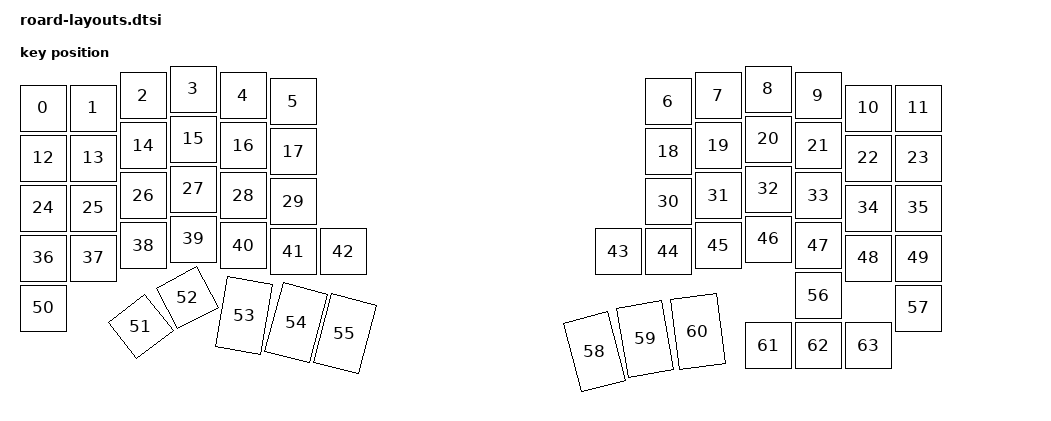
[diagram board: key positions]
#include <physical_layouts.dtsi>

/ {
    default_layout: default_layout {
        compatible = "zmk,physical-layout";
        display-name = "Default Layout";
        kscan = <&kscan>;
        transform = <&default_transform>;

        keys = <
            /* Row 0 (12 keys) */
            &key_physical_attrs 100 100 50   38   0     0    0      /* ESC */
            &key_physical_attrs 100 100 150  38   0     0    0      /* 1 */
            &key_physical_attrs 100 100 250  13   0     0    0      /* 2 */
            &key_physical_attrs 100 100 350  0    0     0    0      /* 3 */
            &key_physical_attrs 100 100 450  13   0     0    0      /* 4 */
            &key_physical_attrs 100 100 550  25   0     0    0      /* 5 */
            &key_physical_attrs 100 100 1300 25   0     0    0      /* 6 */
            &key_physical_attrs 100 100 1400 13   0     0    0      /* 7 */
            &key_physical_attrs 100 100 1500 0    0     0    0      /* 8 */
            &key_physical_attrs 100 100 1600 13   0     0    0      /* 9 */
            &key_physical_attrs 100 100 1700 38   0     0    0      /* 0 */
            &key_physical_attrs 100 100 1800 38   0     0    0      /* = */

            /* Row 1 (12 keys) */
            &key_physical_attrs 100 100 50   138  0     0    0      /* ` */
            &key_physical_attrs 100 100 150  138  0     0    0      /* Q */
            &key_physical_attrs 100 100 250  113  0     0    0      /* W */
            &key_physical_attrs 100 100 350  100  0     0    0      /* E */
            &key_physical_attrs 100 100 450  113  0     0    0      /* R */
            &key_physical_attrs 100 100 550  125  0     0    0      /* T */
            &key_physical_attrs 100 100 1300 125  0     0    0      /* Y */
            &key_physical_attrs 100 100 1400 113  0     0    0      /* U */
            &key_physical_attrs 100 100 1500 100  0     0    0      /* I */
            &key_physical_attrs 100 100 1600 113  0     0    0      /* O */
            &key_physical_attrs 100 100 1700 138  0     0    0      /* P */
            &key_physical_attrs 100 100 1800 138  0     0    0      /* \ */

            /* Row 2 (12 keys) */
            &key_physical_attrs 100 100 50   238  0     0    0      /* TAB */
            &key_physical_attrs 100 100 150  238  0     0    0      /* A */
            &key_physical_attrs 100 100 250  213  0     0    0      /* S */
            &key_physical_attrs 100 100 350  200  0     0    0      /* D */
            &key_physical_attrs 100 100 450  213  0     0    0      /* F */
            &key_physical_attrs 100 100 550  225  0     0    0      /* G */
            &key_physical_attrs 100 100 1300 225  0     0    0      /* H */
            &key_physical_attrs 100 100 1400 213  0     0    0      /* J */
            &key_physical_attrs 100 100 1500 200  0     0    0      /* K */
            &key_physical_attrs 100 100 1600 213  0     0    0      /* L */
            &key_physical_attrs 100 100 1700 238  0     0    0      /* ; */
            &key_physical_attrs 100 100 1800 238  0     0    0      /* ' */

            /* Row 3 (14 keys) */
            &key_physical_attrs 100 100 50   338  0     0    0      /* LSHFT */
            &key_physical_attrs 100 100 150  338  0     0    0      /* Z */
            &key_physical_attrs 100 100 250  313  0     0    0      /* X */
            &key_physical_attrs 100 100 350  300  0     0    0      /* C */
            &key_physical_attrs 100 100 450  313  0     0    0      /* V */
            &key_physical_attrs 100 100 550  325  0     0    0      /* B */
            &key_physical_attrs 100 100 650  325  0     0    0      /* FN */
            &key_physical_attrs 100 100 1200 325  0     0    0      /* - */
            &key_physical_attrs 100 100 1300 325  0     0    0      /* N */
            &key_physical_attrs 100 100 1400 313  0     0    0      /* M */
            &key_physical_attrs 100 100 1500 300  0     0    0      /* , */
            &key_physical_attrs 100 100 1600 313  0     0    0      /* . */
            &key_physical_attrs 100 100 1700 338  0     0    0      /* / */
            &key_physical_attrs 100 100 1800 338  0     0    0      /* RSHFT */

            /* Row 4 (8 keys - Left mods, Left thumb cluster, Right upper arrows) */
            &key_physical_attrs 100 100 50   438  0       0    0      /* LCTRL */
            &key_physical_attrs 100 100 218  256  (-3800) 600  375    /* LALT */
            &key_physical_attrs 100 100 320  307  (-2800) 600  375    /* LGUI */
            &key_physical_attrs 100 150 476  443  1000    600  375    /* RET */
            &key_physical_attrs 100 150 593  436  1500    600  375    /* BSPC (Left) */
            &key_physical_attrs 100 150 693  432  1500    600  375    /* LBKT */
            &key_physical_attrs 100 100 1600 413  0       0    0      /* UP */
            &key_physical_attrs 100 100 1800 438  0       0    0      /* DEL */

            /* Row 5 (6 keys - Right thumb cluster, Right lower arrows) */
            &key_physical_attrs 100 150 1107 449  (-1500) 1375 375    /* RBKT */
            &key_physical_attrs 100 150 1225 460  (-1000) 1375 375    /* BSPC (Right) */
            &key_physical_attrs 100 150 1340 463  (-700)  1375 375    /* SPACE */
            &key_physical_attrs 100 100 1500 513  0       0    0      /* LEFT */
            &key_physical_attrs 100 100 1600 513  0       0    0      /* DOWN */
            &key_physical_attrs 100 100 1700 513  0       0    0      /* RIGHT */
        >;
    };
};
